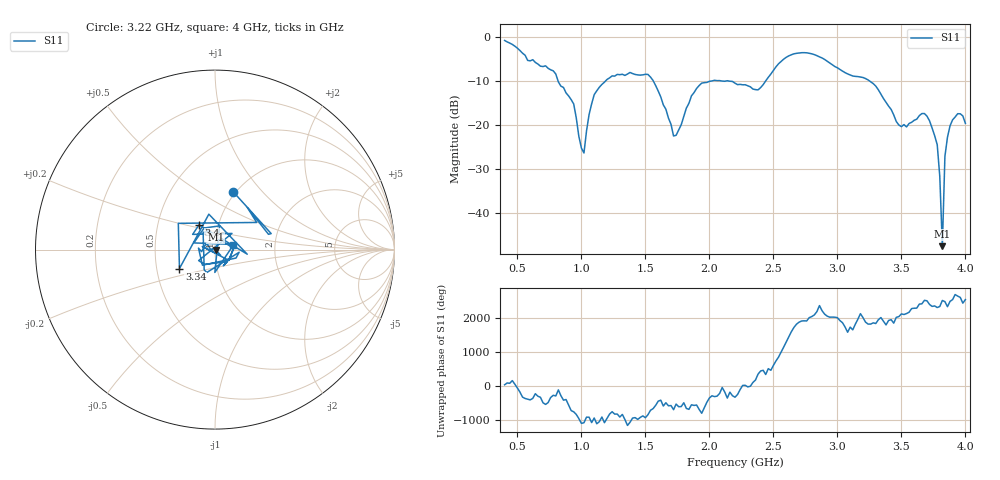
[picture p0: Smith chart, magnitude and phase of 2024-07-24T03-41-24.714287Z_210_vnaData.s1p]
!Created with skrf (http://scikit-rf.org).
# Hz S RI R 50.0
!freq ReS11 ImS11
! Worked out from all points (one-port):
!   181 points, 400 MHz to 4 GHz, reference 50 ohm
!   lowest |S11| = -47.5 dB at 3.82 GHz (marker M1), VSWR 1.01, Z = 50.4 - j0.0831 ohm
!   |S11| at or under -10 dB: 817.8 MHz to 1.188 GHz (370.5 MHz wide, 36.9 % of centre); 1.562 GHz to 2.016 GHz (453.7 MHz wide, 25.4 % of centre); 3.252 GHz to end of sweep (the widest 3 of 5)
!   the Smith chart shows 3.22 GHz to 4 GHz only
!   S11 on the Smith chart (normalised r, x): 3.22 GHz: 0.97, +0.71; 3.34 GHz: 0.66, -0.15; 3.4 GHz: 0.81, +0.23; 4 GHz: 1.22, +0.06
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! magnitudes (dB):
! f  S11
! 400 MHz  -0.8
! 860 MHz  -11.5
! 940 MHz  -15.2
! 1.02 GHz  -26.3
! 1.06 GHz  -17.6
! 1.1 GHz  -13.1
! 1.3 GHz  -8.6
! 1.52 GHz  -8.5
! 1.72 GHz  -22.5
! 1.76 GHz  -21.1
! 1.94 GHz  -10.5
! 2.2 GHz  -10.5
! 2.38 GHz  -12.0
! 2.66 GHz  -3.8
! 3.1 GHz  -8.6
! 3.22 GHz  -9.4
! 3.34 GHz  -13.0
! 3.4 GHz  -15.7
! 3.48 GHz  -20.0
! 3.56 GHz  -19.6
! 3.68 GHz  -17.4
! 3.78 GHz  -24.5
! 3.8 GHz  -31.7
! 3.82 GHz  -47.5
! 3.84 GHz  -27.1
! 3.86 GHz  -22.8
! 3.94 GHz  -17.4
! 4 GHz  -19.6
